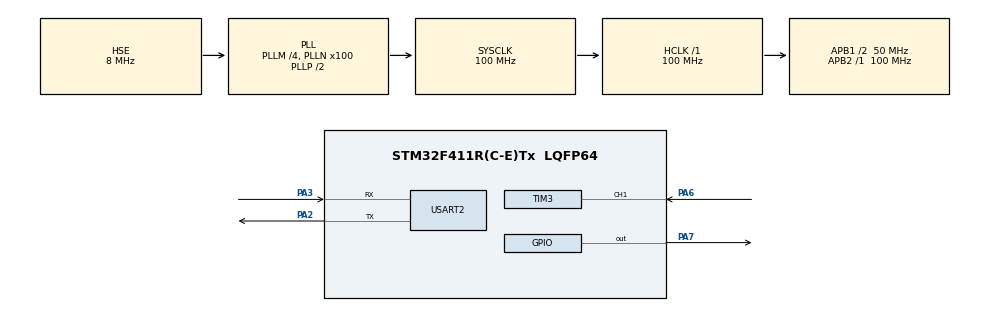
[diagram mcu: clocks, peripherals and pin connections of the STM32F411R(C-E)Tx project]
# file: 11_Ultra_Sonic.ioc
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Mcu.Family=STM32F4
Mcu.Name=STM32F411R(C-E)Tx
Mcu.Package=LQFP64
NVIC.PriorityGroup=NVIC_PRIORITYGROUP_4
NVIC.TIM3_IRQn=true\:0\:0\:false\:false\:true\:true\:true\:true
NVIC.USART2_IRQn=true\:0\:0\:false\:false\:true\:true\:true\:true
PA13.Mode=Serial_Wire
PA13.Signal=SYS_JTMS-SWDIO
PA14.Mode=Serial_Wire
PA14.Signal=SYS_JTCK-SWCLK
PA2.Mode=Asynchronous
PA2.Signal=USART2_TX
PA3.Mode=Asynchronous
PA3.Signal=USART2_RX
PA6.Signal=S_TIM3_CH1
PA7.GPIO_Speed=GPIO_SPEED_FREQ_VERY_HIGH
PA7.Signal=GPIO_Output
PH0\ -\ OSC_IN.Mode=HSE-External-Oscillator
PH0\ -\ OSC_IN.Signal=RCC_OSC_IN
PH1\ -\ OSC_OUT.Mode=HSE-External-Oscillator
PH1\ -\ OSC_OUT.Signal=RCC_OSC_OUT
ProjectManager.HeapSize=0x200
ProjectManager.StackSize=0x400
ProjectManager.TargetToolchain=STM32CubeIDE
RCC.48MHZClocksFreq_Value=50000000
RCC.AHBFreq_Value=100000000
RCC.APB1CLKDivider=RCC_HCLK_DIV2
RCC.APB1Freq_Value=50000000
RCC.APB1TimFreq_Value=100000000
RCC.APB2Freq_Value=100000000
RCC.APB2TimFreq_Value=100000000
RCC.CortexFreq_Value=100000000
RCC.HCLKFreq_Value=100000000
RCC.HSE_VALUE=8000000
RCC.HSI_VALUE=16000000
RCC.LSE_VALUE=32768
RCC.PLLM=4
RCC.PLLN=100
RCC.PLLSourceVirtual=RCC_PLLSOURCE_HSE
RCC.RCC_RTC_Clock_Source=RCC_RTCCLKSOURCE_LSI
RCC.SYSCLKFreq_VALUE=100000000
RCC.SYSCLKSource=RCC_SYSCLKSOURCE_PLLCLK
RCC.VCOOutputFreq_Value=200000000
SH.S_TIM3_CH1.0=TIM3_CH1,Input_Capture1_from_TI1
TIM11.Prescaler=100-1
TIM3.Channel-Input_Capture1_from_TI1=TIM_CHANNEL_1
TIM3.Prescaler=100-1
USART2.VirtualMode=VM_ASYNC
VP_TIM11_VS_ClockSourceINT.Mode=Enable_Timer
VP_TIM3_VS_ClockSourceINT.Mode=Internal
board=custom

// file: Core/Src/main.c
/* USER CODE BEGIN Header */
/**
  ******************************************************************************
  * @file           : main.c
  * @brief          : Main program body
  ******************************************************************************
  * @attention
  *
  * Copyright (c) 2024 STMicroelectronics.
  * All rights reserved.
  *
  * This software is licensed under terms that can be found in the LICENSE file
  * in the root directory of this software component.
  * If no LICENSE file comes with this software, it is provided AS-IS.
  *
  ******************************************************************************
  */
/* USER CODE END Header */
#include "main.h"
#include "tim.h"
#include "usart.h"
#include "gpio.h"

/* USER CODE BEGIN Includes */

#include "delay.h"
#include <stdio.h>

/* USER CODE END Includes */

/* USER CODE BEGIN PD */

#define TRIG_PORT 	GPIOA
#define TRIG_PIN    GPIO_PIN_7

/* USER CODE END PD */

/* USER CODE BEGIN PM */

#ifdef __GNUC__
  /* With GCC, small printf (option LD Linker->Libraries->Small printf
     set to 'Yes') calls __io_putchar() */
  #define PUTCHAR_PROTOTYPE int __io_putchar(int ch)
#else
  #define PUTCHAR_PROTOTYPE int fputc(int ch, FILE *f)
#endif /* __GNUC__ */

PUTCHAR_PROTOTYPE
{
  /* Place your implementation of fputc here */
  /* e.g. write a character to the EVAL_COM1 and Loop until the end of transmission */
  HAL_UART_Transmit(&huart2, (uint8_t *)&ch, 1, 0xFFFF);

  return ch;
}

/* USER CODE END PM */

/* USER CODE BEGIN PV */

uint16_t IC_Value1 = 0;  // Input Capture == Start Point of Echo when ehco starts High-Level
uint16_t IC_Value2 = 0;  // Input Capture == End Point of Echo when ehco ends High-Level
uint16_t echoTime = 0;
uint8_t captureFlag = 0;
uint8_t distance = 0;

/* USER CODE END PV */

void SystemClock_Config(void);
/* USER CODE BEGIN PFP */

void HAL_TIM_IC_CaptureCallback(TIM_HandleTypeDef *htim)
{
  if(htim->Channel == HAL_TIM_ACTIVE_CHANNEL_1)
  {
    if(captureFlag  == 0)
    {
      IC_Value1 = HAL_TIM_ReadCapturedValue(&htim3, TIM_CHANNEL_1);
      captureFlag = 1;
      __HAL_TIM_SET_CAPTUREPOLARITY(&htim3, TIM_CHANNEL_1, TIM_INPUTCHANNELPOLARITY_FALLING);
    }
    else if(captureFlag == 1)
    {
      IC_Value2 = HAL_TIM_ReadCapturedValue(&htim3, TIM_CHANNEL_1);
      __HAL_TIM_SET_COUNTER(&htim3, 0);

      if(IC_Value2 > IC_Value1)
      {
        echoTime = IC_Value2 - IC_Value1;
      }
      else if(IC_Value1 > IC_Value2)
      {
        echoTime = (0xFFFF - IC_Value1) + IC_Value2;
      }

      distance = echoTime / 58;
      captureFlag = 0;
      __HAL_TIM_SET_CAPTUREPOLARITY(&htim3, TIM_CHANNEL_1, TIM_INPUTCHANNELPOLARITY_RISING);
      __HAL_TIM_DISABLE_IT(&htim3, TIM_IT_CC1);
    }
  }
}

void HCSR04 (void) {
	HAL_GPIO_WritePin(TRIG_PORT, TRIG_PIN, 0);
	delay_us(1);
	HAL_GPIO_WritePin(TRIG_PORT, TRIG_PIN, 1);
	delay_us(10);
	HAL_GPIO_WritePin(TRIG_PORT, TRIG_PIN, 0);

	__HAL_TIM_ENABLE_IT(&htim3, TIM_IT_CC1);
}

/* USER CODE END PFP */

int main(void)
{

  /* MCU Configuration--------------------------------------------------------*/

  /* Reset of all peripherals, Initializes the Flash interface and the Systick. */
  HAL_Init();

  /* Configure the system clock */
  SystemClock_Config();

  /* Initialize all configured peripherals */
  MX_GPIO_Init();
  MX_TIM3_Init();
  MX_TIM11_Init();
  MX_USART2_UART_Init();
  /* USER CODE BEGIN 2 */

  HAL_TIM_Base_Start(&htim11);    // For Delay function
  HAL_TIM_IC_Start_IT(&htim3, TIM_CHANNEL_1);   // for ultrasonic timer

  /* USER CODE END 2 */

  /* Infinite loop */
  /* USER CODE BEGIN WHILE */
  while (1)
  {
	HCSR04();
	printf("Distance = %3d [cm] \n\r", distance);
	HAL_Delay(1000);
    /* USER CODE END WHILE */

  }
}

void SystemClock_Config(void)
{
  RCC_OscInitTypeDef RCC_OscInitStruct = {0};
  RCC_ClkInitTypeDef RCC_ClkInitStruct = {0};

  /** Configure the main internal regulator output voltage
  */
  __HAL_RCC_PWR_CLK_ENABLE();
  __HAL_PWR_VOLTAGESCALING_CONFIG(PWR_REGULATOR_VOLTAGE_SCALE1);

  /** Initializes the RCC Oscillators according to the specified parameters
  * in the RCC_OscInitTypeDef structure.
  */
  RCC_OscInitStruct.OscillatorType = RCC_OSCILLATORTYPE_HSE;
  RCC_OscInitStruct.HSEState = RCC_HSE_ON;
  RCC_OscInitStruct.PLL.PLLState = RCC_PLL_ON;
  RCC_OscInitStruct.PLL.PLLSource = RCC_PLLSOURCE_HSE;
  RCC_OscInitStruct.PLL.PLLM = 4;
  RCC_OscInitStruct.PLL.PLLN = 100;
  RCC_OscInitStruct.PLL.PLLP = RCC_PLLP_DIV2;
  RCC_OscInitStruct.PLL.PLLQ = 4;
  if (HAL_RCC_OscConfig(&RCC_OscInitStruct) != HAL_OK)
  {
    Error_Handler();
  }

  /** Initializes the CPU, AHB and APB buses clocks
  */
  RCC_ClkInitStruct.ClockType = RCC_CLOCKTYPE_HCLK|RCC_CLOCKTYPE_SYSCLK
                              |RCC_CLOCKTYPE_PCLK1|RCC_CLOCKTYPE_PCLK2;
  RCC_ClkInitStruct.SYSCLKSource = RCC_SYSCLKSOURCE_PLLCLK;
  RCC_ClkInitStruct.AHBCLKDivider = RCC_SYSCLK_DIV1;
  RCC_ClkInitStruct.APB1CLKDivider = RCC_HCLK_DIV2;
  RCC_ClkInitStruct.APB2CLKDivider = RCC_HCLK_DIV1;

  if (HAL_RCC_ClockConfig(&RCC_ClkInitStruct, FLASH_LATENCY_3) != HAL_OK)
  {
    Error_Handler();
  }
}

void Error_Handler(void)
{
  __disable_irq();
  while (1)
  {
  }
}
